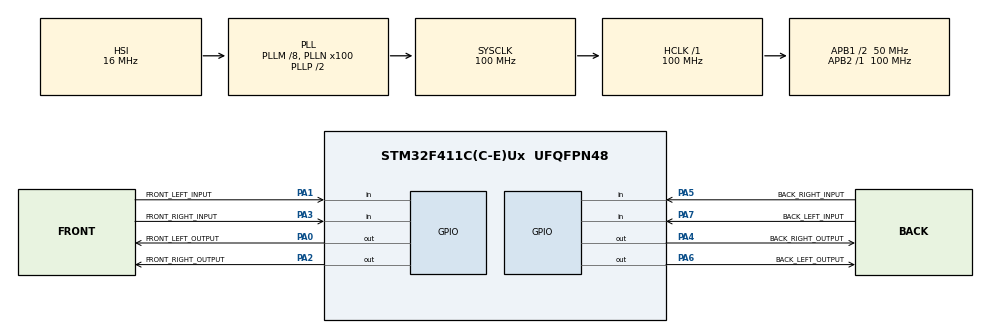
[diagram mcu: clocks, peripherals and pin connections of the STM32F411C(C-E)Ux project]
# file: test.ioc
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Mcu.Family=STM32F4
Mcu.Name=STM32F411C(C-E)Ux
Mcu.Package=UFQFPN48
NVIC.PriorityGroup=NVIC_PRIORITYGROUP_4
PA0-WKUP.GPIO_Label=FRONT_LEFT_OUTPUT
PA0-WKUP.Signal=GPIO_Output
PA1.GPIO_Label=FRONT_LEFT_INPUT
PA1.GPIO_PuPd=GPIO_PULLUP
PA1.Signal=GPIO_Input
PA13.Mode=Serial_Wire
PA13.Signal=SYS_JTMS-SWDIO
PA14.Mode=Serial_Wire
PA14.Signal=SYS_JTCK-SWCLK
PA2.GPIO_Label=FRONT_RIGHT_OUTPUT
PA2.Signal=GPIO_Output
PA3.GPIO_Label=FRONT_RIGHT_INPUT
PA3.GPIO_PuPd=GPIO_PULLUP
PA3.Signal=GPIO_Input
PA4.GPIO_Label=BACK_RIGHT_OUTPUT
PA4.Signal=GPIO_Output
PA5.GPIO_Label=BACK_RIGHT_INPUT
PA5.GPIO_PuPd=GPIO_PULLUP
PA5.Signal=GPIO_Input
PA6.GPIO_Label=BACK_LEFT_OUTPUT
PA6.Signal=GPIO_Output
PA7.GPIO_Label=BACK_LEFT_INPUT
PA7.GPIO_PuPd=GPIO_PULLUP
PA7.Signal=GPIO_Input
PH0\ -\ OSC_IN.Mode=HSE-External-Oscillator
PH0\ -\ OSC_IN.Signal=RCC_OSC_IN
PH1\ -\ OSC_OUT.Mode=HSE-External-Oscillator
PH1\ -\ OSC_OUT.Signal=RCC_OSC_OUT
ProjectManager.HeapSize=0x200
ProjectManager.StackSize=0x400
ProjectManager.TargetToolchain=MDK-ARM V5.32
RCC.48MHZClocksFreq_Value=50000000
RCC.AHBFreq_Value=100000000
RCC.APB1CLKDivider=RCC_HCLK_DIV2
RCC.APB1Freq_Value=50000000
RCC.APB1TimFreq_Value=100000000
RCC.APB2Freq_Value=100000000
RCC.APB2TimFreq_Value=100000000
RCC.CortexFreq_Value=100000000
RCC.HCLKFreq_Value=100000000
RCC.HSE_VALUE=25000000
RCC.HSI_VALUE=16000000
RCC.LSE_VALUE=32768
RCC.PLLM=8
RCC.PLLN=100
RCC.SYSCLKFreq_VALUE=100000000
RCC.SYSCLKSource=RCC_SYSCLKSOURCE_PLLCLK
RCC.VCOOutputFreq_Value=200000000
board=custom

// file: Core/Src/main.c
/* USER CODE BEGIN Header */
/**
  ******************************************************************************
  * @file           : main.c
  * @brief          : Main program body
  ******************************************************************************
  * @attention
  *
  * Copyright (c) 2025 STMicroelectronics.
  * All rights reserved.
  *
  * This software is licensed under terms that can be found in the LICENSE file
  * in the root directory of this software component.
  * If no LICENSE file comes with this software, it is provided AS-IS.
  *
  ******************************************************************************
  */
/* USER CODE END Header */
#include "main.h"

/* USER CODE BEGIN Includes */

#include "drv_loadcell.h"

/* USER CODE END Includes */

/* USER CODE BEGIN PV */
loadcell_t sensor_front_left;
loadcell_t sensor_front_right;
loadcell_t sensor_back_left;
loadcell_t sensor_back_right;

/* USER CODE END PV */

void SystemClock_Config(void);
static void MX_GPIO_Init(void);

int main(void)
{

  /* MCU Configuration--------------------------------------------------------*/

  /* Reset of all peripherals, Initializes the Flash interface and the Systick. */
  HAL_Init();

  /* Configure the system clock */
  SystemClock_Config();

  /* Initialize all configured peripherals */
  MX_GPIO_Init();
  /* USER CODE BEGIN 2 */
  loadcell_init_dwt();

  loadcell_init(&sensor_front_left, GPIOA, FRONT_LEFT_INPUT_Pin, GPIOA, FRONT_LEFT_OUTPUT_Pin);

  loadcell_init(&sensor_front_right, GPIOA, FRONT_RIGHT_INPUT_Pin, GPIOA, FRONT_RIGHT_OUTPUT_Pin);

  loadcell_init(&sensor_back_left, GPIOA, BACK_LEFT_INPUT_Pin, GPIOA, BACK_LEFT_OUTPUT_Pin);

  loadcell_init(&sensor_back_right, GPIOA, BACK_RIGHT_INPUT_Pin, GPIOA, BACK_RIGHT_OUTPUT_Pin);

  HAL_Delay(1000);

	/* HAL_Delay(3000);
  loadcell_tare(&sensor_front_left);
	HAL_Delay(3000);
  loadcell_tare(&sensor_front_right);
	HAL_Delay(3000);
	loadcell_tare(&sensor_back_left);
	HAL_Delay(3000);
	loadcell_tare(&sensor_back_right);

  HAL_Delay(3000);
  int32_t raw_fl = loadcell_read_average(&sensor_front_left, 20);
  float scale_fl = (float)(raw_fl - sensor_front_left.offset) / 1000.0f;
	HAL_Delay(3000);
	int32_t raw_fr = loadcell_read_average(&sensor_front_right, 20);
  float scale_fr = (float)(raw_fr - sensor_front_right.offset) / 1000.0f;
  HAL_Delay(3000);
  int32_t raw_bl = loadcell_read_average(&sensor_back_left, 20);
  float scale_bl = (float)(raw_bl - sensor_back_left.offset) / 1000.0f;
	HAL_Delay(3000);
	int32_t raw_br = loadcell_read_average(&sensor_back_right, 20);
  float scale_br = (float)(raw_br - sensor_back_right.offset) / 1000.0f; */

	sensor_front_left.offset = 8432156;
  sensor_front_left.scale = 420.5f;

  sensor_front_right.offset = 8431200;
  sensor_front_right.scale = 418.3f;

  sensor_back_left.offset = 8433500;
  sensor_back_left.scale = 422.1f;

  sensor_back_right.offset = 8430800;
  sensor_back_right.scale = 419.7f;
  /* USER CODE END 2 */

  /* Infinite loop */
  /* USER CODE BEGIN WHILE */
  while (1)
  {
		float weight_fl = loadcell_get_weight(&sensor_front_left);
    float weight_fr = loadcell_get_weight(&sensor_front_right);
    float weight_bl = loadcell_get_weight(&sensor_back_left);
    float weight_br = loadcell_get_weight(&sensor_back_right);

    float total_weight = weight_fl + weight_fr + weight_bl + weight_br;
		HAL_Delay(200);
    /* USER CODE END WHILE */

  }
}

void SystemClock_Config(void)
{
  RCC_OscInitTypeDef RCC_OscInitStruct = {0};
  RCC_ClkInitTypeDef RCC_ClkInitStruct = {0};

  /** Configure the main internal regulator output voltage
  */
  __HAL_RCC_PWR_CLK_ENABLE();
  __HAL_PWR_VOLTAGESCALING_CONFIG(PWR_REGULATOR_VOLTAGE_SCALE1);

  /** Initializes the RCC Oscillators according to the specified parameters
  * in the RCC_OscInitTypeDef structure.
  */
  RCC_OscInitStruct.OscillatorType = RCC_OSCILLATORTYPE_HSI;
  RCC_OscInitStruct.HSIState = RCC_HSI_ON;
  RCC_OscInitStruct.HSICalibrationValue = RCC_HSICALIBRATION_DEFAULT;
  RCC_OscInitStruct.PLL.PLLState = RCC_PLL_ON;
  RCC_OscInitStruct.PLL.PLLSource = RCC_PLLSOURCE_HSI;
  RCC_OscInitStruct.PLL.PLLM = 8;
  RCC_OscInitStruct.PLL.PLLN = 100;
  RCC_OscInitStruct.PLL.PLLP = RCC_PLLP_DIV2;
  RCC_OscInitStruct.PLL.PLLQ = 4;
  if (HAL_RCC_OscConfig(&RCC_OscInitStruct) != HAL_OK)
  {
    Error_Handler();
  }

  /** Initializes the CPU, AHB and APB buses clocks
  */
  RCC_ClkInitStruct.ClockType = RCC_CLOCKTYPE_HCLK|RCC_CLOCKTYPE_SYSCLK
                              |RCC_CLOCKTYPE_PCLK1|RCC_CLOCKTYPE_PCLK2;
  RCC_ClkInitStruct.SYSCLKSource = RCC_SYSCLKSOURCE_PLLCLK;
  RCC_ClkInitStruct.AHBCLKDivider = RCC_SYSCLK_DIV1;
  RCC_ClkInitStruct.APB1CLKDivider = RCC_HCLK_DIV2;
  RCC_ClkInitStruct.APB2CLKDivider = RCC_HCLK_DIV1;

  if (HAL_RCC_ClockConfig(&RCC_ClkInitStruct, FLASH_LATENCY_3) != HAL_OK)
  {
    Error_Handler();
  }
}

static void MX_GPIO_Init(void)
{
  GPIO_InitTypeDef GPIO_InitStruct = {0};

  /* GPIO Ports Clock Enable */
  __HAL_RCC_GPIOH_CLK_ENABLE();
  __HAL_RCC_GPIOA_CLK_ENABLE();

  /*Configure GPIO pin Output Level */
  HAL_GPIO_WritePin(GPIOA, FRONT_LEFT_OUTPUT_Pin|FRONT_RIGHT_OUTPUT_Pin|BACK_RIGHT_OUTPUT_Pin|BACK_LEFT_OUTPUT_Pin, GPIO_PIN_RESET);

  /*Configure GPIO pins : FRONT_LEFT_OUTPUT_Pin FRONT_RIGHT_OUTPUT_Pin BACK_RIGHT_OUTPUT_Pin BACK_LEFT_OUTPUT_Pin */
  GPIO_InitStruct.Pin = FRONT_LEFT_OUTPUT_Pin|FRONT_RIGHT_OUTPUT_Pin|BACK_RIGHT_OUTPUT_Pin|BACK_LEFT_OUTPUT_Pin;
  GPIO_InitStruct.Mode = GPIO_MODE_OUTPUT_PP;
  GPIO_InitStruct.Pull = GPIO_NOPULL;
  GPIO_InitStruct.Speed = GPIO_SPEED_FREQ_LOW;
  HAL_GPIO_Init(GPIOA, &GPIO_InitStruct);

  /*Configure GPIO pins : FRONT_LEFT_INPUT_Pin FRONT_RIGHT_INPUT_Pin BACK_RIGHT_INPUT_Pin BACK_LEFT_INPUT_Pin */
  GPIO_InitStruct.Pin = FRONT_LEFT_INPUT_Pin|FRONT_RIGHT_INPUT_Pin|BACK_RIGHT_INPUT_Pin|BACK_LEFT_INPUT_Pin;
  GPIO_InitStruct.Mode = GPIO_MODE_INPUT;
  GPIO_InitStruct.Pull = GPIO_PULLUP;
  HAL_GPIO_Init(GPIOA, &GPIO_InitStruct);

}

void Error_Handler(void)
{
  __disable_irq();
  while (1)
  {
  }
}
